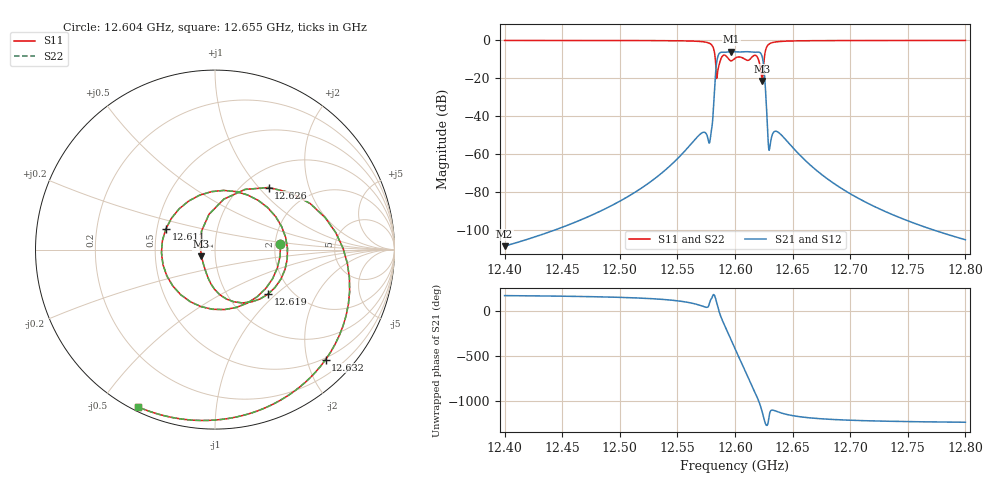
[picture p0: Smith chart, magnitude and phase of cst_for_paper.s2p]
! This file was generated by CST Filter Designer 3D
! Date:  23.07.2025 13:03:34
# MHZ S RI R 50
!  Frequency  Re(S11)  Im(S11)  Re(S21)  Im(S21)  Re(S12)  Im(S12)  Re(S22)  Im(S22)
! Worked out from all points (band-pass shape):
!   1001 points, 12.4 GHz to 12.8 GHz, reference 50 ohm
!   highest |S21| = -5.93 dB at 12.597 GHz (marker M1); lowest = -108.7 dB at 12.4 GHz (marker M2)
!   |S21| within 3 dB of the highest: 12.58494 GHz to 12.62372 GHz (38.78 MHz wide, 0.308 % of centre)
!   lowest |S11| = -21.5 dB at 12.624 GHz (marker M3), VSWR 1.18, Z = 42.8 - j3.19 ohm
!   |S11| at or under -10 dB: 12.58291 GHz to 12.58764 GHz (4.732 MHz wide, 0.0376 % of centre); 12.59472 GHz to 12.59887 GHz (4.155 MHz wide, 0.033 % of centre); 12.6203 GHz to 12.62535 GHz (5.052 MHz wide, 0.04 % of centre)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
!   |S22| runs from -21.5 to 0.0 dB; largest |S21 - S12| = 0
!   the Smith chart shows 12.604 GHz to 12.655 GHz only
!   S11 on the Smith chart (normalised r, x): 12.604 GHz: 2.14, +0.14; 12.611 GHz: 0.56, +0.14; 12.619 GHz: 1.52, -0.89; 12.626 GHz: 1.29, +1.13; 12.632 GHz: 0.47, -2.35; 12.655 GHz: 0.02, -0.62
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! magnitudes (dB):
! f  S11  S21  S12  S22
! 12.4 GHz  0.0  -108.7  -108.7  0.0
! 12.467 GHz  0.0  -94.7  -94.7  0.0
! 12.513 GHz  -0.1  -80.3  -80.3  -0.1
! 12.534 GHz  -0.1  -71.5  -71.5  -0.1
! 12.57 GHz  -0.6  -49.4  -49.4  -0.6
! 12.578 GHz  -1.6  -54.0  -54.0  -1.6
! 12.585 GHz  -15.5  -8.3  -8.3  -15.5
! 12.597 GHz  -10.8  -5.9  -5.9  -10.8
! 12.6 GHz  -9.4  -6.0  -6.0  -9.4
! 12.604 GHz  -8.7  -6.1  -6.1  -8.7
! 12.611 GHz  -10.5  -5.9  -5.9  -10.5
! 12.619 GHz  -8.3  -6.2  -6.2  -8.3
! 12.624 GHz  -21.5  -8.6  -8.6  -21.5
! 12.626 GHz  -6.8  -21.5  -21.5  -6.8
! 12.629 GHz  -2.1  -56.9  -56.9  -2.1
! 12.632 GHz  -1.2  -50.5  -50.5  -1.2
! 12.637 GHz  -0.7  -48.4  -48.4  -0.7
! 12.655 GHz  -0.2  -59.9  -59.9  -0.2
! 12.667 GHz  -0.1  -66.6  -66.6  -0.1
! 12.697 GHz  -0.1  -79.9  -79.9  -0.1
! 12.734 GHz  0.0  -91.3  -91.3  0.0
! 12.8 GHz  0.0  -105.4  -105.4  0.0
